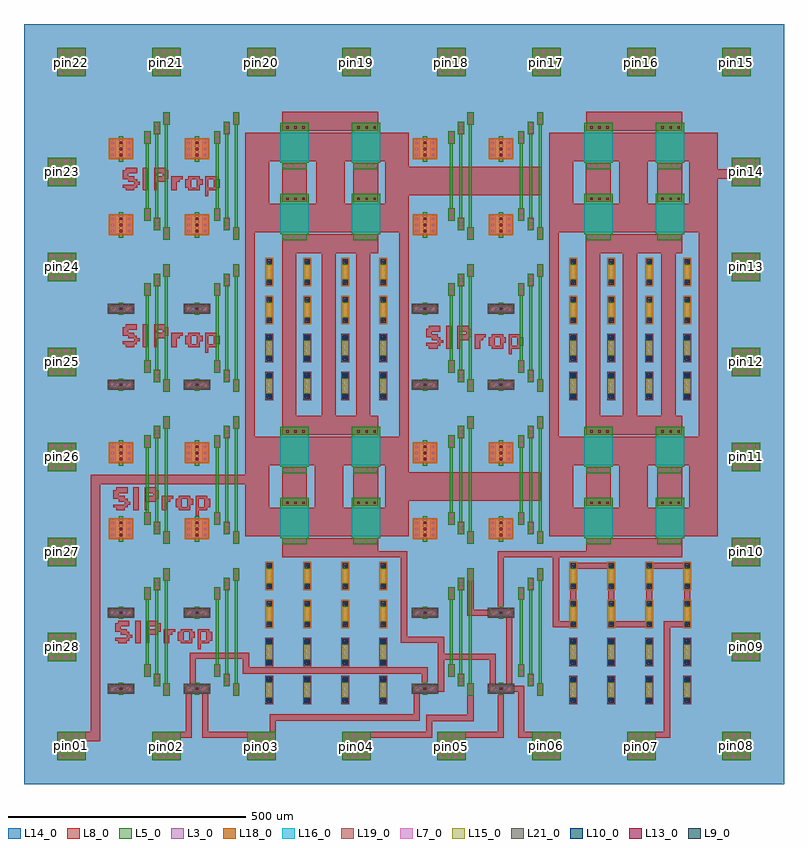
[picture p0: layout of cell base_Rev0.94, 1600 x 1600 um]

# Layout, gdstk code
from math import pi, radians
import gdstk
lib = gdstk.Library(unit=1e-6, precision=1e-09)
def R(c, l, rs):  # rectangles x0, y0, x1, y1
    for r in rs: c.add(gdstk.rectangle(r[:2], r[2:], *l))
def A(c, l, x, y, w, h, nx, ny, dx, dy):  # array of equal rectangles
    R(c, l, [(x+i*dx, y+j*dy, x+i*dx+w, y+j*dy+h) for i in range(nx) for j in range(ny)])
L3_0 = (3, 0)
L5_0 = (5, 0)
L7_0 = (7, 0)
L8_0 = (8, 0)
L9_0 = (9, 0)
L10_0 = (10, 0)
L13_0 = (13, 0)
L14_0 = (14, 0)
L15_0 = (15, 0)
L16_0 = (16, 0)
L18_0 = (18, 0)
L19_0 = (19, 0)
L21_0 = (21, 0)

c_16_5x5_flame = lib.new_cell('16_5x5_flame')
R(c_16_5x5_flame, L14_0, [(-800,-800,800,800), (-750,-750,750,750)])

dcont = lib.new_cell('dcont')
R(dcont, L3_0, [(-6.5,-6.5,6.5,6.5)])
R(dcont, L7_0, [(-2.5,-2.5,2.5,2.5)])
R(dcont, L8_0, [(-6.5,-6.5,6.5,6.5)])

pcont_min = lib.new_cell('pcont_min')
R(pcont_min, L5_0, [(-4.5,-6.5,4.5,6.5)])
R(pcont_min, L7_0, [(-2.5,-2.5,2.5,2.5)])
R(pcont_min, L8_0, [(-4.5,-6.5,4.5,6.5)])
R(pcont_min, L13_0, [(-2.5,-2.5,2.5,2.5)])

pch_1 = lib.new_cell('Pch$1')
R(pch_1, L3_0, [(0,17,48,57)])
R(pch_1, L18_0, [(-2,15,50,59)])
pch_1.add(gdstk.FlexPath([(6.5,17),(6.5,57)], 13, ends="flush", simple_path=True, layer=8, datatype=0))  # L8_0
pch_1.add(gdstk.FlexPath([(41.5,17),(41.5,57)], 13, ends="flush", simple_path=True, layer=8, datatype=0))  # L8_0
pch_1.add(gdstk.FlexPath([(24,17),(24,57)], 10, ends=(6.5, 6.5), simple_path=True, layer=5, datatype=0))  # L5_0
pch_1.add(gdstk.Reference(dcont, (6.5,24)))
pch_1.add(gdstk.Reference(dcont, (6.5,37)))
pch_1.add(gdstk.Reference(dcont, (6.5,50)))
pch_1.add(gdstk.Reference(dcont, (41.5,24)))
pch_1.add(gdstk.Reference(dcont, (41.5,37)))
pch_1.add(gdstk.Reference(dcont, (41.5,50)))
pch_1.add(gdstk.Reference(pcont_min, (24,24)))
pch_1.add(gdstk.Reference(pcont_min, (24,37)))
pch_1.add(gdstk.Reference(pcont_min, (24,50)))

tin_m1 = lib.new_cell('tin_M1')
R(tin_m1, L5_0, [(-7,-7,6,6)])
R(tin_m1, L7_0, [(-3,-3,2,2)])
R(tin_m1, L8_0, [(-7,-7,6,6)])

v_tin_line3 = lib.new_cell('V_tin_line3')
v_tin_line3.add(gdstk.FlexPath([(-20.5,74),(-20.5,-74)], 6, ends="extended", simple_path=True, layer=5, datatype=0))  # L5_0
v_tin_line3.add(gdstk.FlexPath([(-0.5,94),(-0.5,-94)], 6, ends="extended", simple_path=True, layer=5, datatype=0))  # L5_0
v_tin_line3.add(gdstk.FlexPath([(19.5,114),(19.5,-114)], 6, ends="extended", simple_path=True, layer=5, datatype=0))  # L5_0
r = gdstk.Reference(tin_m1, (-20.5,74), rotation=pi); r.repetition = gdstk.Repetition(2, 3, v1=(0,13), v2=(20,20)); v_tin_line3.add(r)
r = gdstk.Reference(tin_m1, (-20.5,-88), rotation=pi); r.repetition = gdstk.Repetition(2, 3, v1=(0,13), v2=(20,-20)); v_tin_line3.add(r)

pmos_array = lib.new_cell('pmos_array')
R(pmos_array, L14_0, [(-160,-160,160,160)])
r = gdstk.Reference(pch_1, (-140,-140)); r.repetition = gdstk.Repetition(2, 2, v1=(160,0), v2=(0,160)); pmos_array.add(r)
pmos_array.add(gdstk.Reference(v_tin_line3, (-40,0)))
pmos_array.add(gdstk.Reference(v_tin_line3, (107,0)))

nch_1 = lib.new_cell('Nch$1')
R(nch_1, L3_0, [(0,18.5,48,28.5)])
R(nch_1, L19_0, [(-2,15,50,32)])
R(nch_1, L21_0, [(-4,13,52,34)])
nch_1.add(gdstk.FlexPath([(6.5,17),(6.5,30)], 13, ends="flush", simple_path=True, layer=8, datatype=0))  # L8_0
nch_1.add(gdstk.FlexPath([(41.5,17),(41.5,30)], 13, ends="flush", simple_path=True, layer=8, datatype=0))  # L8_0
nch_1.add(gdstk.FlexPath([(24,17),(24,30)], 10, ends=(6.5, 6.5), simple_path=True, layer=5, datatype=0))  # L5_0
nch_1.add(gdstk.Reference(dcont, (6.5,23.5)))
nch_1.add(gdstk.Reference(dcont, (41.5,23.5)))
nch_1.add(gdstk.Reference(pcont_min, (24,23.5)))

nmos_array = lib.new_cell('nmos_array')
R(nmos_array, L14_0, [(-160,-160,160,160)])
r = gdstk.Reference(nch_1, (-140,-143)); r.repetition = gdstk.Repetition(2, 2, v1=(160,0), v2=(0,160)); nmos_array.add(r)
nmos_array.add(gdstk.Reference(v_tin_line3, (-40,0)))
nmos_array.add(gdstk.Reference(v_tin_line3, (107,0)))

via = lib.new_cell('Via')
R(via, L8_0, [(-6.5,-6.5,6.5,6.5)])
R(via, L9_0, [(-2.5,-2.5,2.5,2.5)])
R(via, L10_0, [(-5,-5,5,5)])
R(via, L13_0, [(-2.5,-2.5,2.5,2.5)])

r_ndiff = lib.new_cell('R_ndiff')
R(r_ndiff, L19_0, [(-2,-2,15,58)])
r_ndiff.add(gdstk.FlexPath([(6.5,0),(6.5,56)], 10, ends="flush", simple_path=True, layer=3, datatype=0))  # L3_0
r_ndiff.add(gdstk.FlexPath([(6.5,13),(6.5,43)], 10, ends="flush", simple_path=True, layer=15, datatype=0))  # L15_0
r_ndiff.add(gdstk.Reference(dcont, (6.5,6.5), rotation=pi/2))
r_ndiff.add(gdstk.Reference(via, (6.5,6.5)))
r_ndiff.add(gdstk.Reference(dcont, (6.5,49.5), rotation=pi/2))
r_ndiff.add(gdstk.Reference(via, (6.5,49.5)))

r_pdiff_1 = lib.new_cell('R_pdiff$1')
R(r_pdiff_1, L18_0, [(-2,-2,15,58)])
r_pdiff_1.add(gdstk.FlexPath([(6.5,0),(6.5,56)], 10, ends="flush", simple_path=True, layer=3, datatype=0))  # L3_0
r_pdiff_1.add(gdstk.FlexPath([(6.5,13),(6.5,43)], 10, ends="flush", simple_path=True, layer=15, datatype=0))  # L15_0
r_pdiff_1.add(gdstk.Reference(dcont, (6.5,6.5), rotation=pi/2))
r_pdiff_1.add(gdstk.Reference(via, (6.5,6.5)))
r_pdiff_1.add(gdstk.Reference(dcont, (6.5,49.5), rotation=pi/2))
r_pdiff_1.add(gdstk.Reference(via, (6.5,49.5)))

resistor_array = lib.new_cell('resistor_array')
R(resistor_array, L14_0, [(-160,-160,160,160)])
r = gdstk.Reference(r_ndiff, (-130,-150)); r.repetition = gdstk.Repetition(4, 2, v1=(80,0), v2=(0,80)); resistor_array.add(r)
r = gdstk.Reference(r_pdiff_1, (-130,10)); r.repetition = gdstk.Repetition(4, 2, v1=(80,0), v2=(0,80)); resistor_array.add(r)

pcont = lib.new_cell('pcont')
R(pcont, L5_0, [(-6.5,-6.5,6.5,6.5)])
R(pcont, L7_0, [(-2.5,-2.5,2.5,2.5)])
R(pcont, L8_0, [(-6.5,-6.5,6.5,6.5)])
R(pcont, L13_0, [(-2.5,-2.5,2.5,2.5)])

tin_cap = lib.new_cell('TIN_cap')
R(tin_cap, L5_0, [(23.5,-4,83.5,81)])
R(tin_cap, L8_0, [(0,0,87.5,60)])
R(tin_cap, L16_0, [(23.5,0,83.5,60)])
tin_cap.add(gdstk.Reference(pcont, (38.25,70.5)))
tin_cap.add(gdstk.Reference(pcont, (55.25,70.5)))
tin_cap.add(gdstk.Reference(pcont, (72.25,70.5)))

cap_con = lib.new_cell('cap_con')
R(cap_con, L8_0, [(-16.8,25.5,35.5,42.5)])
r = gdstk.Reference(tin_m1, (28.25,-49.5), rotation=pi); r.repetition = gdstk.Repetition(4, 1, v1=(-13,0), v2=(0,0)); cap_con.add(r)
cap_con.add(gdstk.Reference(tin_cap, (-43.75,-38.5)))

tin_m1_cap_array = lib.new_cell('tin_m1_cap_array')
R(tin_m1_cap_array, L14_0, [(-160,-160.7,160,159.3)])
r = gdstk.Reference(cap_con, (-80,-80)); r.repetition = gdstk.Repetition(2, 2, v1=(150,0), v2=(0,150)); tin_m1_cap_array.add(r)

base_array = lib.new_cell('base_array')
base_array.add(gdstk.Reference(pmos_array, (-160,160)))
base_array.add(gdstk.Reference(nmos_array, (-160,-160)))
base_array.add(gdstk.Reference(resistor_array, (160,-160)))
base_array.add(gdstk.Reference(tin_m1_cap_array, (160,160)))

pad_60_m1_tin = lib.new_cell('pad_60_m1_tin')
R(pad_60_m1_tin, L5_0, [(-30,-30,30,30), (-30,-30,30,30)])
R(pad_60_m1_tin, L8_0, [(-30,-30,30,30)])
r = gdstk.Reference(tin_m1, (22,-23), rotation=pi/2); r.repetition = gdstk.Repetition(4, 4, v1=(0,15), v2=(-15,0)); pad_60_m1_tin.add(r)

logo_siprop = lib.new_cell('LOGO_SIPROP')
A(logo_siprop, L8_0, 6, 12, 6, 6, 3, 1, 6, 0)
A(logo_siprop, L8_0, 42, 12, 6, 6, 1, 8, 0, 6)
A(logo_siprop, L8_0, 48, 12, 6, 6, 1, 5, 0, 6)
A(logo_siprop, L8_0, 66, 12, 6, 6, 1, 3, 0, 6)
A(logo_siprop, L8_0, 102, 12, 6, 6, 1, 3, 0, 6)
A(logo_siprop, L8_0, 108, 12, 6, 6, 1, 3, 0, 6)
A(logo_siprop, L8_0, 138, 12, 6, 6, 4, 2, 6, 24)
A(logo_siprop, L8_0, 174, 12, 6, 6, 4, 2, 6, 24)
A(logo_siprop, L8_0, 0, 18, 6, 6, 5, 2, 6, 30)
A(logo_siprop, L8_0, 132, 18, 6, 6, 1, 3, 0, 6)
A(logo_siprop, L8_0, 138, 18, 6, 6, 4, 1, 18, 0)
A(logo_siprop, L8_0, 198, 18, 6, 6, 1, 3, 0, 6)
A(logo_siprop, L8_0, 12, 30, 6, 6, 3, 1, 6, 0)
A(logo_siprop, L8_0, 66, 30, 6, 6, 4, 2, 6, 24)
A(logo_siprop, L8_0, 102, 30, 6, 6, 3, 1, 6, 0)
A(logo_siprop, L8_0, 0, 36, 6, 6, 4, 1, 6, 0)
A(logo_siprop, L8_0, 66, 36, 6, 6, 5, 2, 6, 12)
A(logo_siprop, L8_0, 102, 36, 6, 6, 4, 1, 6, 0)
A(logo_siprop, L8_0, 48, 42, 6, 6, 3, 1, 18, 0)
A(logo_siprop, L8_0, 6, 54, 6, 6, 4, 1, 6, 0)
R(logo_siprop, L8_0, [(174,0,180,6), (174,6,180,12), (24,24,30,30), (30,24,36,30), (138,24,144,30), (156,24,162,30), (162,24,168,30), (174,24,180,30), (192,24,198,30), (138,30,144,36), (156,30,162,36), (162,30,168,36), (174,30,180,36), (192,30,198,36), (0,42,6,48), (6,42,12,48), (90,42,96,48), (48,48,54,54), (48,54,54,60)])

base_rev0_94 = lib.new_cell('base_Rev0.94')
R(base_rev0_94, L8_0, [(-196.3,-278.5,-133.6,-218.5), (-46.4,-278.5,-39.8,-218.5), (443.3,-278.5,506.7,-218.5), (593.5,-278.5,601,-218.5), (-256.8,-214.5,-204.5,-132.5), (-106.8,-214.5,-54.5,-132.5), (383.2,-214.5,435.5,-132.5), (533.2,-214.5,585.5,-132.5), (-196.3,-128.5,-133.6,-68.5), (-46.4,-128.5,-39.8,-68.5), (443.6,-128.5,512,-68.5), (593.7,-128.5,600.1,-68.5), (-196.6,361.5,-130.7,421.5), (-46.3,361.5,-39.9,421.5), (443.5,361.5,507.2,421.5), (593.7,361.5,600.6,421.5), (-256.8,425.5,-204.5,507.5), (-106.8,425.5,-54.5,507.5), (383.1,425.5,435.5,507.5), (533.2,425.5,585.5,507.5), (-196.5,511.5,-133.5,571.5), (-46.3,511.5,-39.5,571.5), (443.4,511.5,506.4,571.5), (593.7,511.5,600.5,571.5)])
base_rev0_94.add(gdstk.FlexPath([(722.3,484.5),(618.4,484.5)], 20, ends="flush", simple_path=True, layer=8, datatype=0))  # L8_0
base_rev0_94.add(gdstk.FlexPath([(-38.1,469.8),(289.9,469.8)], 60, ends="flush", simple_path=True, layer=8, datatype=0))  # L8_0
base_rev0_94.add(gdstk.FlexPath([(-34,-173.5),(289,-173.5)], 60, ends="flush", simple_path=True, layer=8, datatype=0))  # L8_0
base_rev0_94.add(gdstk.FlexPath([(382.9,337.5),(585.3,337.5)], 40, ends="flush", simple_path=True, layer=8, datatype=0))  # L8_0
base_rev0_94.add(gdstk.FlexPath([(-256.8,-44.5),(-54.5,-44.5)], 40, ends="flush", simple_path=True, layer=8, datatype=0))  # L8_0
base_rev0_94.add(gdstk.FlexPath([(-256.8,-302.5),(-54.7,-302.5)], 40, ends="flush", simple_path=True, layer=8, datatype=0))  # L8_0
base_rev0_94.add(gdstk.FlexPath([(383.2,-302.5),(585.3,-302.5)], 40, ends="flush", simple_path=True, layer=8, datatype=0))  # L8_0
base_rev0_94.add(gdstk.FlexPath([(383.2,-44.5),(585.5,-44.5)], 40, ends="flush", simple_path=True, layer=8, datatype=0))  # L8_0
base_rev0_94.add(gdstk.FlexPath([(383.2,595.5),(585.5,595.5)], 40, ends="flush", simple_path=True, layer=8, datatype=0))  # L8_0
base_rev0_94.add(gdstk.FlexPath([(-256.8,595.5),(-54.5,595.5)], 40, ends="flush", simple_path=True, layer=8, datatype=0))  # L8_0
base_rev0_94.add(gdstk.FlexPath([(-256.8,337.5),(-54.7,337.5)], 40, ends="flush", simple_path=True, layer=8, datatype=0))  # L8_0
base_rev0_94.add(gdstk.FlexPath([(336.3,571.5),(336.3,361.5)], 40, ends="flush", simple_path=True, layer=8, datatype=0))  # L8_0
base_rev0_94.add(gdstk.FlexPath([(620,571.5),(620,361.5)], 40, ends="flush", simple_path=True, layer=8, datatype=0))  # L8_0
base_rev0_94.add(gdstk.FlexPath([(-20,571.5),(-20,361.5)], 40, ends="flush", simple_path=True, layer=8, datatype=0))  # L8_0
base_rev0_94.add(gdstk.FlexPath([(-303.6,-68.5),(-303.6,-278.5)], 40, ends="flush", simple_path=True, layer=8, datatype=0))  # L8_0
base_rev0_94.add(gdstk.FlexPath([(-20,-68.5),(-20,-278.5)], 40, ends="flush", simple_path=True, layer=8, datatype=0))  # L8_0
base_rev0_94.add(gdstk.FlexPath([(336.3,-68.5),(336.3,-278.5)], 40, ends="flush", simple_path=True, layer=8, datatype=0))  # L8_0
base_rev0_94.add(gdstk.FlexPath([(620,-68.5),(620,-278.5)], 40, ends="flush", simple_path=True, layer=8, datatype=0))  # L8_0
base_rev0_94.add(gdstk.FlexPath([(-303.7,571.5),(-303.7,361.5)], 40, ends="flush", simple_path=True, layer=8, datatype=0))  # L8_0
base_rev0_94.add(gdstk.FlexPath([(-306.8,-158.6),(-649.9,-158.6),(-649.9,-700),(-690.6,-700)], 20, ends="flush", simple_path=True, layer=8, datatype=0))  # L8_0
base_rev0_94.add(gdstk.FlexPath([(397.9,328.8),(397.9,-53)], 30, ends="flush", simple_path=True, layer=8, datatype=0))  # L8_0
base_rev0_94.add(gdstk.FlexPath([(596.5,-382.7),(596.5,-423.2)], 13, ends="flush", simple_path=True, layer=8, datatype=0))  # L8_0
base_rev0_94.add(gdstk.FlexPath([(516.7,-340.5),(595.9,-340.5)], 13, ends="flush", simple_path=True, layer=8, datatype=0))  # L8_0
base_rev0_94.add(gdstk.FlexPath([(516.5,-419.2),(516.5,-380.1)], 13, ends="flush", simple_path=True, layer=8, datatype=0))  # L8_0
base_rev0_94.add(gdstk.FlexPath([(436.1,-463.5),(522.9,-463.5)], 13, ends="flush", simple_path=True, layer=8, datatype=0))  # L8_0
base_rev0_94.add(gdstk.FlexPath([(436.5,-382.6),(436.5,-422)], 13, ends="flush", simple_path=True, layer=8, datatype=0))  # L8_0
base_rev0_94.add(gdstk.FlexPath([(357.2,-340.5),(437.2,-340.5)], 13, ends="flush", simple_path=True, layer=8, datatype=0))  # L8_0
base_rev0_94.add(gdstk.FlexPath([(356.5,-421.1),(356.5,-381.5)], 13, ends="flush", simple_path=True, layer=8, datatype=0))  # L8_0
base_rev0_94.add(gdstk.FlexPath([(640,571.5),(640,-278.5)], 40, ends="flush", simple_path=True, layer=8, datatype=0))  # L8_0
base_rev0_94.add(gdstk.FlexPath([(204,-612.5),(204,-696.5),(114.8,-696.5)], 13, ends="flush", simple_path=True, layer=8, datatype=0))  # L8_0
base_rev0_94.add(gdstk.FlexPath([(0,571.5),(0,-278.5)], 20, ends="flush", simple_path=True, layer=8, datatype=0))  # L8_0
base_rev0_94.add(gdstk.FlexPath([(316.3,571.5),(316.3,-278.5)], 20, ends="flush", simple_path=True, layer=8, datatype=0))  # L8_0
base_rev0_94.add(gdstk.FlexPath([(-323.7,571.5),(-323.7,-278.5)], 20, ends="flush", simple_path=True, layer=8, datatype=0))  # L8_0
base_rev0_94.add(gdstk.FlexPath([(475.8,329.5),(475.8,-41.7)], 30, ends="flush", simple_path=True, layer=8, datatype=0))  # L8_0
base_rev0_94.add(gdstk.FlexPath([(556.8,329.4),(556.8,-45.8)], 30, ends="flush", simple_path=True, layer=8, datatype=0))  # L8_0
base_rev0_94.add(gdstk.FlexPath([(-241.8,330.9),(-241.8,-49.6)], 30, ends="flush", simple_path=True, layer=8, datatype=0))  # L8_0
base_rev0_94.add(gdstk.FlexPath([(-158.2,335.6),(-158.2,-41.9)], 30, ends="flush", simple_path=True, layer=8, datatype=0))  # L8_0
base_rev0_94.add(gdstk.FlexPath([(-85.8,329.8),(-85.8,-47.7)], 30, ends="flush", simple_path=True, layer=8, datatype=0))  # L8_0
base_rev0_94.add(gdstk.FlexPath([(596.5,-463.5),(553.7,-463.5),(553.7,-696.5),(520.8,-696.5)], 13, ends="flush", simple_path=True, layer=8, datatype=0))  # L8_0
base_rev0_94.add(gdstk.FlexPath([(204,-439.8),(204,-391.8)], 9, ends="flush", simple_path=True, layer=8, datatype=0))  # L8_0
base_rev0_94.add(gdstk.FlexPath([(204,-599.1),(204,-626.1)], 9, ends="flush", simple_path=True, layer=8, datatype=0))  # L8_0
base_rev0_94.add(gdstk.FlexPath([(44,-599.3),(44,-576.6)], 9, ends="flush", simple_path=True, layer=8, datatype=0))  # L8_0
base_rev0_94.add(gdstk.FlexPath([(204,-426.5),(204,-316),(395.4,-316)], 13, ends="flush", simple_path=True, layer=8, datatype=0))  # L8_0
base_rev0_94.add(gdstk.FlexPath([(320,-315.9),(320,-463.5),(356.6,-463.5)], 13, ends="flush", simple_path=True, layer=8, datatype=0))  # L8_0
base_rev0_94.add(gdstk.FlexPath([(-453.5,-600.4),(-453.5,-696.5),(-484.8,-696.5)], 13, ends="flush", simple_path=True, layer=8, datatype=0))  # L8_0
base_rev0_94.add(gdstk.FlexPath([(-436,-599.5),(-457,-599.5)], 13, ends="flush", simple_path=True, layer=8, datatype=0))  # L8_0
base_rev0_94.add(gdstk.FlexPath([(44,-586.5),(44,-561.1),(-332.7,-561.1),(-332.7,-530.2),(-444.8,-530.2),(-444.8,-600.6)], 13, ends="flush", simple_path=True, layer=8, datatype=0))  # L8_0
base_rev0_94.add(gdstk.FlexPath([(26.5,-599.8),(26.5,-660.1),(-276.5,-660.1),(-276.5,-701.7)], 13, ends="flush", simple_path=True, layer=8, datatype=0))  # L8_0
base_rev0_94.add(gdstk.FlexPath([(-418.5,-598.9),(-418.5,-696.5),(-316.5,-696.5)], 13, ends="flush", simple_path=True, layer=8, datatype=0))  # L8_0
base_rev0_94.add(gdstk.FlexPath([(140,-607.5),(140,-661),(53.4,-661),(53.4,-696.5),(-96.5,-696.5)], 13, ends="flush", simple_path=True, layer=8, datatype=0))  # L8_0
base_rev0_94.add(gdstk.FlexPath([(187.6,-439.5),(140,-439.5),(140,-355.3)], 13, ends="flush", simple_path=True, layer=8, datatype=0))  # L8_0
base_rev0_94.add(gdstk.FlexPath([(221.5,-438.2),(221.5,-605.4)], 13, ends="flush", simple_path=True, layer=8, datatype=0))  # L8_0
base_rev0_94.add(gdstk.FlexPath([(61.5,-599.5),(77.8,-599.5),(77.8,-532),(186.5,-532),(186.5,-606)], 13, ends="flush", simple_path=True, layer=8, datatype=0))  # L8_0
base_rev0_94.add(gdstk.FlexPath([(279.7,-696.5),(247,-696.5),(247,-599.5),(221.7,-599.5)], 13, ends="flush", simple_path=True, layer=8, datatype=0))  # L8_0
base_rev0_94.add(gdstk.FlexPath([(77.8,-532.1),(77.8,-496.4),(0.1,-496.4),(0.1,-316),(-72.3,-316)], 13, ends="flush", simple_path=True, layer=8, datatype=0))  # L8_0
base_rev0_94.add(gdstk.FlexPath([(483.5,-96.7),(483.5,-255.3)], 60, ends="flush", simple_path=True, layer=8, datatype=0))  # L8_0
base_rev0_94.add(gdstk.FlexPath([(-157.4,-103.1),(-157.4,-257)], 60, ends="flush", simple_path=True, layer=8, datatype=0))  # L8_0
base_rev0_94.add(gdstk.FlexPath([(-154.6,542.5),(-154.6,393.4)], 60, ends="flush", simple_path=True, layer=8, datatype=0))  # L8_0
base_rev0_94.add(gdstk.FlexPath([(483.1,544.1),(483.1,389.1)], 60, ends="flush", simple_path=True, layer=8, datatype=0))  # L8_0
base_rev0_94.add(gdstk.Reference(c_16_5x5_flame, (0,0)))
r = gdstk.Reference(base_array, (-320,-320)); r.repetition = gdstk.Repetition(2, 2, v1=(640,0), v2=(0,640)); base_rev0_94.add(r)
r = gdstk.Reference(pad_60_m1_tin, (700,720), rotation=pi/2); r.repetition = gdstk.Repetition(1, 8, v1=(0,0), v2=(-200,0)); base_rev0_94.add(r)
r = gdstk.Reference(pad_60_m1_tin, (700,-720), rotation=pi/2); r.repetition = gdstk.Repetition(1, 8, v1=(0,0), v2=(-200,0)); base_rev0_94.add(r)
r = gdstk.Reference(pad_60_m1_tin, (-720,488), rotation=pi); r.repetition = gdstk.Repetition(1, 6, v1=(0,0), v2=(0,-200)); base_rev0_94.add(r)
r = gdstk.Reference(pad_60_m1_tin, (720,488), rotation=pi); r.repetition = gdstk.Repetition(1, 6, v1=(0,0), v2=(0,-200)); base_rev0_94.add(r)
base_rev0_94.add(gdstk.Reference(logo_siprop, (-608.1,-515.9)))
base_rev0_94.add(gdstk.Reference(logo_siprop, (-592.2,107.9)))
base_rev0_94.add(gdstk.Reference(logo_siprop, (46.6,104.6)))
base_rev0_94.add(gdstk.Reference(logo_siprop, (-592.1,437.6)))
base_rev0_94.add(gdstk.Reference(logo_siprop, (-612.1,-235.6)))
base_rev0_94.add(gdstk.Label('pin01', (-699,-719.5), layer=8, texttype=0))
base_rev0_94.add(gdstk.Label('pin02', (-499,-720), layer=8, texttype=0))
base_rev0_94.add(gdstk.Label('pin03', (-299,-720), layer=8, texttype=0))
base_rev0_94.add(gdstk.Label('pin04', (-99,-720), layer=8, texttype=0))
base_rev0_94.add(gdstk.Label('pin05', (101,-720), layer=8, texttype=0))
base_rev0_94.add(gdstk.Label('pin06', (301,-719.5), layer=8, texttype=0))
base_rev0_94.add(gdstk.Label('pin07', (501,-720), layer=8, texttype=0))
base_rev0_94.add(gdstk.Label('pin08', (701,-719.5), layer=8, texttype=0))
base_rev0_94.add(gdstk.Label('pin09', (720.5,-511), layer=8, texttype=0))
base_rev0_94.add(gdstk.Label('pin10', (720,-311), layer=8, texttype=0))
base_rev0_94.add(gdstk.Label('pin11', (720,-111), layer=8, texttype=0))
base_rev0_94.add(gdstk.Label('pin12', (720,89), layer=8, texttype=0))
base_rev0_94.add(gdstk.Label('pin13', (720,289), layer=8, texttype=0))
base_rev0_94.add(gdstk.Label('pin14', (720,489), layer=8, texttype=0))
base_rev0_94.add(gdstk.Label('pin15', (701,720), layer=8, texttype=0))
base_rev0_94.add(gdstk.Label('pin16', (501,720), layer=8, texttype=0))
base_rev0_94.add(gdstk.Label('pin17', (301,720), layer=8, texttype=0))
base_rev0_94.add(gdstk.Label('pin18', (101,720), layer=8, texttype=0))
base_rev0_94.add(gdstk.Label('pin19', (-99,720), layer=8, texttype=0))
base_rev0_94.add(gdstk.Label('pin20', (-299,720), layer=8, texttype=0))
base_rev0_94.add(gdstk.Label('pin21', (-499,720), layer=8, texttype=0))
base_rev0_94.add(gdstk.Label('pin22', (-699,720), layer=8, texttype=0))
base_rev0_94.add(gdstk.Label('pin23', (-720,489), layer=8, texttype=0))
base_rev0_94.add(gdstk.Label('pin24', (-720,289), layer=8, texttype=0))
base_rev0_94.add(gdstk.Label('pin25', (-720,89), layer=8, texttype=0))
base_rev0_94.add(gdstk.Label('pin26', (-720,-111), layer=8, texttype=0))
base_rev0_94.add(gdstk.Label('pin27', (-720,-311), layer=8, texttype=0))
base_rev0_94.add(gdstk.Label('pin28', (-720,-511), layer=8, texttype=0))

lib.write_gds('base_Rev0.94.gds')
